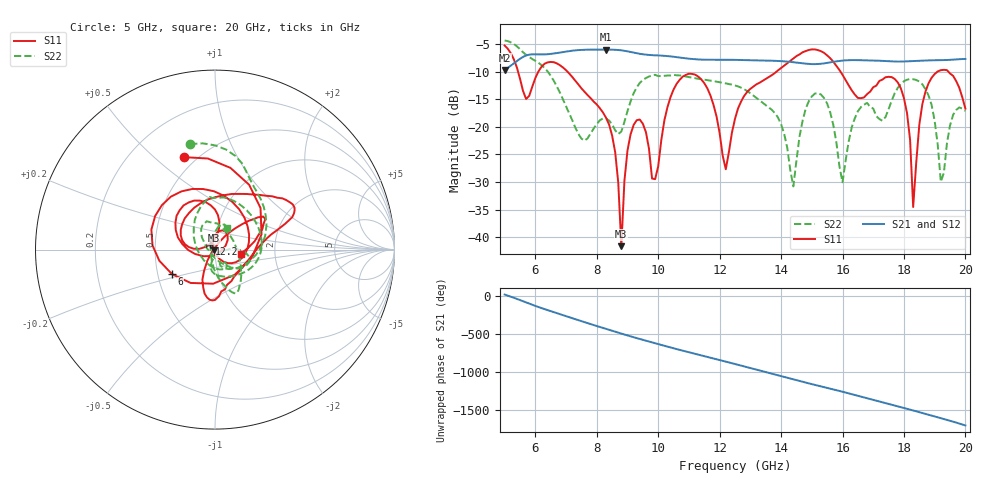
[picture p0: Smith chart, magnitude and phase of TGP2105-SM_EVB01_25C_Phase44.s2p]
! Date: Wednesday, June 05, 2013  1:52 PM
! Filename: C:\Data\Mike_Arnold\TGP2105-SM\Over_Temp\TGP2105-SM_EVB01_25C_Phase44.s2p
! Comments:
!^VDC(V):5.000
!^VDC(mA):0.112
!%Freq(GHz),S11(dB),S11(ang),S21(dB),S21(ang),S12(dB),S12(ang),S22(dB),S22(ang)
# GHz  S  DB  R  50
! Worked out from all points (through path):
!   151 points, 5 GHz to 20 GHz, reference 50 ohm
!   highest |S21| = -6.03 dB at 8.3 GHz (marker M1); lowest = -9.7 dB at 5 GHz (marker M2)
!   lowest |S11| = -41.6 dB at 8.8 GHz (marker M3), VSWR 1.02, Z = 49.2 - j0.296 ohm
!   |S11| at or under -10 dB: 5.436 GHz to 6.1 GHz (664.1 MHz wide, 11.5 % of centre); 7.041 GHz to 13.86 GHz (6.814 GHz wide, 65.2 % of centre); 15.93 GHz to 19.1 GHz (3.165 GHz wide, 18.1 % of centre)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
!   |S22| runs from -30.8 to -4.4 dB; largest |S21 - S12| = 0.0022
!   S11 on the Smith chart (normalised r, x): 5 GHz: 0.43, +0.63; 6 GHz: 0.59, -0.18; 12.2 GHz: 0.94, +0.06; 20 GHz: 1.34, -0.06
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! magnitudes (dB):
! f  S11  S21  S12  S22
! 5 GHz  -5.3  -9.7  -9.7  -4.4
! 6 GHz  -11.2  -6.9  -6.9  -8.1
! 7.5 GHz  -13.0  -6.1  -6.1  -22.1
! 8.3 GHz  -18.4  -6.0  -6.1  -18.5
! 8.6 GHz  -24.6  -6.1  -6.1  -20.6
! 8.8 GHz  -41.6  -6.2  -6.2  -20.9
! 9.2 GHz  -19.7  -6.6  -6.6  -13.9
! 10 GHz  -27.1  -7.1  -7.1  -10.8
! 11 GHz  -10.4  -7.7  -7.7  -11.0
! 12.2 GHz  -27.7  -7.9  -7.9  -12.2
! 12.5 GHz  -18.5  -7.9  -7.9  -12.5
! 13.9 GHz  -9.8  -8.1  -8.1  -18.3
! 14.4 GHz  -7.7  -8.3  -8.3  -30.8
! 15 GHz  -6.0  -8.7  -8.7  -14.5
! 16 GHz  -10.6  -8.0  -8.0  -30.0
! 16.5 GHz  -14.8  -7.9  -8.0  -17.2
! 17.5 GHz  -11.0  -8.1  -8.2  -16.8
! 18.1 GHz  -17.5  -8.2  -8.2  -11.5
! 18.3 GHz  -34.5  -8.1  -8.1  -11.4
! 18.8 GHz  -12.1  -8.0  -8.0  -14.3
! 19.2 GHz  -9.8  -7.9  -8.0  -30.0
! 20 GHz  -16.7  -7.7  -7.8  -17.2
